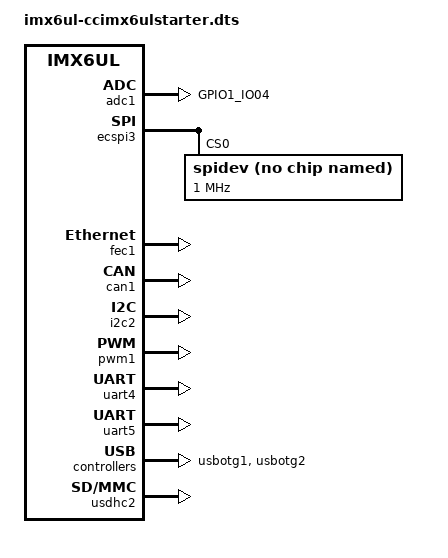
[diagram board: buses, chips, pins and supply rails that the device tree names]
/*
 * Copyright 2016, 2017 Digi International, Inc.
 *
 * The code contained herein is licensed under the GNU General Public
 * License. You may obtain a copy of the GNU General Public License
 * Version 2 or later at the following locations:
 *
 * http://www.opensource.org/licenses/gpl-license.html
 * http://www.gnu.org/copyleft/gpl.html
 */

/dts-v1/;
#include <dt-bindings/input/input.h>
#include <dt-bindings/interrupt-controller/irq.h>
/* i.MX6 UltraLite CPU */
#include "imx6ul.dtsi"
/* ConnectCore 6UL (common) */
#include "imx6ul-ccimx6ul.dtsi"
/* ConnectCore 6UL StarterBoard */
#include "imx6ul-ccimx6ulstarter.dtsi"

/*
 * Include in adc-ch-list the ADC channels (from 0 to 9) that you want to
 * enable. Note that the iomux has to be configured accordingly in pinctrl_adc1
 * to configure the pad for ADC operation
 */
&adc1 {
	pinctrl-names = "default";
	pinctrl-0 = <&pinctrl_adc1>;
	adc-ch-list = <4>;
	status = "okay";
};

/* ECSPI3 (as master - Raspberry PI Expansion header) */
&ecspi3 {
	status = "okay";

	/*
	 * Add your slave devices here. Next is an example of spidev.
	 * Expect a harmless kernel warning if you enable spidev as slave.
	 */
	spidev@0 {
		reg = <0>;
		compatible = "spidev";
		spi-max-frequency = <1000000>;
	};
};

&fec1 {
	status = "okay";
};

/* CAN1 (Raspberry PI Expansion header) */
&can1 {
	status = "okay";
};

/* I2C2 (Raspberry PI Expansion header and Grove connector) */
&i2c2 {
	status = "okay";
};

/* MCA IO0 connected to Grove ADC connector */
&mca_adc {
	digi,adc-ch-list = <0>;
	digi,adc-vref = <3000000>;
};

/* Uncomment to Enable Tamper detection. There are 2 digital (0 and 1) and 2
 * analog (2 and 3) tamper interfaces.
 */
//&mca_tamper {
//	digi,tamper-if-list = <0 1 2 3>;
//};

/* PWM1 (Raspberry PI Expansion header) */
&pwm1 {
	status = "okay";
};

/* UART4 (Raspberry PI Expansion header) */
&uart4 {
	status = "okay";
};

/* UART5 (Console) */
&uart5 {
	status = "okay";
};

&usbotg1 {
	status = "okay";
};

&usbotg2 {
	status = "okay";
};

/* USDHC2 (microSD) */
&usdhc2 {
	status = "okay";
};

/* Pin mux configuration */
&iomuxc {
	pinctrl-0 =  <&pinctrl_hog>, <&pinctrl_expansion>;

	imx6ul-ccimx6ul {
		pinctrl_adc1: adc1grp {
			fsl,pins = <
				/* GPIO1_4/ADC1_IN4 (pin 7 of the expansion header) */
				MX6UL_PAD_GPIO1_IO04__GPIO1_IO04        0xb0
			>;
		};

		/* Expansion Connector */
		pinctrl_expansion: expansiongrp {
			fsl,pins = <
				/*
				 * Comment the pads you wish to use on any
				 * device driver, and uncomment the ones you
				 * want to use as GPIO (requires disabling the
				 * driver that manages them).
				 */
				/* GPIO3_4 */
				MX6UL_PAD_LCD_RESET__GPIO3_IO04		0xf030
				/* JTAG_TDI/GPIO1_13 */
				MX6UL_PAD_JTAG_TDI__GPIO1_IO13		0x1b0b0
				/* GPIO3_10_PROT */
				MX6UL_PAD_LCD_DATA05__GPIO3_IO10	0x1b0b0
				/* JTAG_MOD/GPIO1_10 */
				MX6UL_PAD_JTAG_MOD__GPIO1_IO10		0x1b0b0
				/* JTAG_TMS/GPIO1_11 */
				MX6UL_PAD_JTAG_TMS__GPIO1_IO11		0x1b0b0
				/* GPIO3_12_PROT */
				MX6UL_PAD_LCD_DATA07__GPIO3_IO12	0x1b0b0
				/* PWM2/I2C3_SCL_PROT */
				MX6UL_PAD_LCD_DATA01__GPIO3_IO06	0x1b0b0
				/* RASPBERRY_29/GPIO5 */
				MX6UL_PAD_GPIO1_IO05__GPIO1_IO05	0x1b0b0
				/* PWM4_PROT */
				MX6UL_PAD_LCD_DATA03__GPIO3_IO08	0x1b0b0
				/* GPIO3_7/PWM3_PROT */
				MX6UL_PAD_LCD_DATA02__GPIO3_IO07	0x1b0b0
				/* JTAG_TDO/GPIO1_12 */
				MX6UL_PAD_JTAG_TDO__GPIO1_IO12		0x1b0b0
				/* RASPBERRY_36/CSI_MCLK */
				MX6UL_PAD_CSI_MCLK__GPIO4_IO17		0x1b0b0
				/* RASPBERRY_37/CSI_PIXCLK */
				MX6UL_PAD_CSI_PIXCLK__GPIO4_IO18	0x1b0b0
				/* JTAG_nTRST/GPIO1_15 */
				MX6UL_PAD_JTAG_TRST_B__GPIO1_IO15	0x1b0b0
				/* JTAG_TCK/GPIO1_14 */
				MX6UL_PAD_JTAG_TCK__GPIO1_IO14		0x1b0b0
			>;
		};
	};
};
